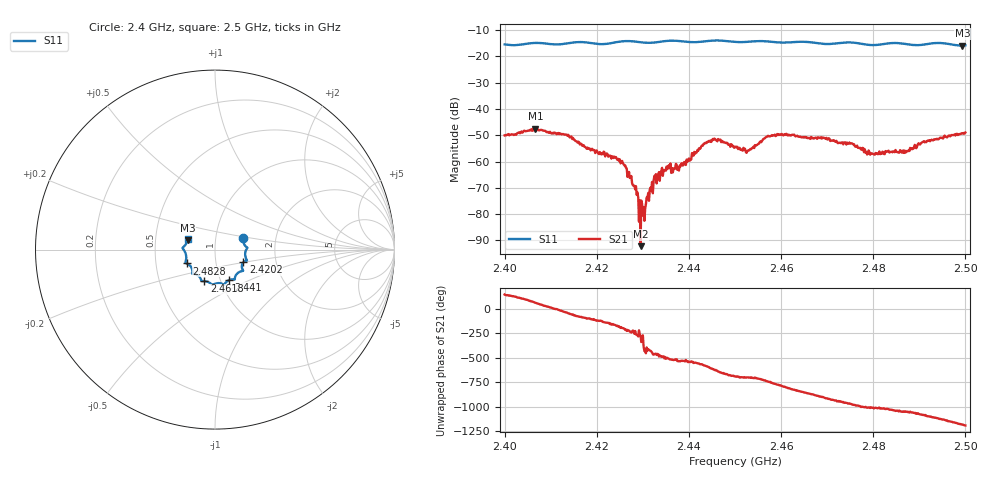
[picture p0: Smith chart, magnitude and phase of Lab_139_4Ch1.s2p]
# Hz S RI R 50
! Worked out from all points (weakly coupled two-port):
!   601 points, 2.4 GHz to 2.5 GHz, reference 50 ohm
!   highest |S21| = -47.43 dB at 2.4067 GHz (marker M1); lowest = -92.2 dB at 2.4295 GHz (marker M2)
!   lowest |S11| = -15.8 dB at 2.4993 GHz (marker M3), VSWR 1.38, Z = 36.6 + j3.85 ohm
!   |S11| at or under -10 dB: start of sweep to end of sweep
!   S12 and S22 are empty: the file has one direction only
!   S11 on the Smith chart (normalised r, x): 2.4 GHz: 1.36, +0.18; 2.4202 GHz: 1.36, -0.20; 2.441 GHz: 1.10, -0.39; 2.4618 GHz: 0.84, -0.30; 2.4828 GHz: 0.72, -0.12; 2.5 GHz: 0.73, +0.09
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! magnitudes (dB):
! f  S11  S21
! 2.4 GHz  -15.4  -50.0
! 2.4067 GHz  -14.9  -47.4
! 2.4133 GHz  -15.1  -49.7
! 2.4167 GHz  -14.5  -53.2
! 2.4202 GHz  -15.2  -56.3
! 2.426 GHz  -14.2  -61.5
! 2.4295 GHz  -14.6  -92.2
! 2.4305 GHz  -14.8  -78.1
! 2.4323 GHz  -14.7  -67.3
! 2.4333 GHz  -14.5  -66.1
! 2.441 GHz  -14.6  -57.7
! 2.4455 GHz  -13.9  -51.2
! 2.45 GHz  -14.5  -54.5
! 2.4528 GHz  -14.4  -55.7
! 2.457 GHz  -14.3  -50.5
! 2.4618 GHz  -14.6  -50.0
! 2.4667 GHz  -14.7  -51.1
! 2.4798 GHz  -15.7  -57.0
! 2.4828 GHz  -15.1  -56.3
! 2.4833 GHz  -15.0  -55.9
! 2.4993 GHz  -15.8  -49.2
! 2.5 GHz  -15.7  -48.9
